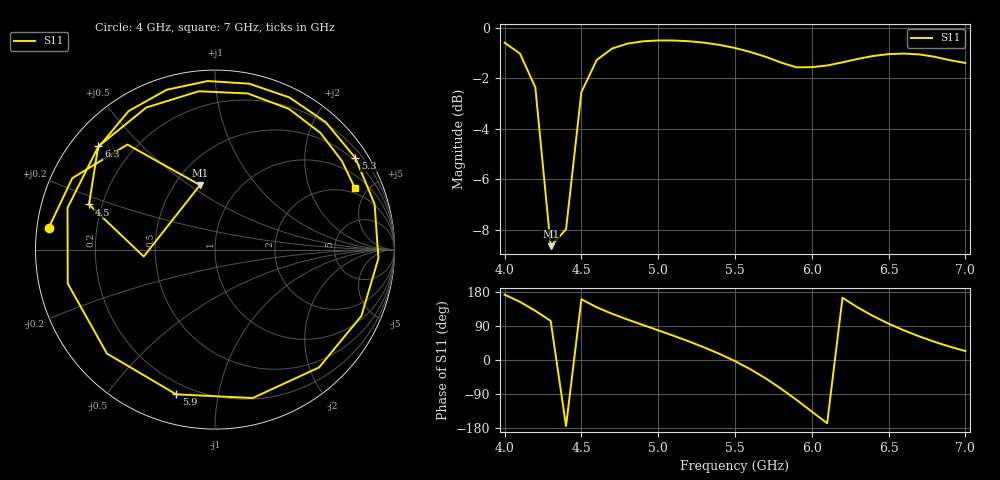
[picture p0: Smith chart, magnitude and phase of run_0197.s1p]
! Touchstone file exported from HFSS 2024.2.0
!  File:  C:/Users/wsak9/Desktop/Sim Fast/Widenad Patch/WP_AI_V1_sweep.aedt
!  Generated:  11:10:25 PM Oct 13, 2026
!  Design:  A1_model
!  Project:  WP_AI_V1_sweep
!  Setup:  Setup1
!  Solution:  Sweep
! Variables:
!  Air_gap = 1.6mm
!  Curve_Amp1 = 2.12
!  Curve_len1 = 1
!  Curve_pos = 12.57mm
!  Extra = 0.71mm
!  H_sub = 0.79mm
!  L_Patch = 21.14mm
!  L_Patch1 = 13.74mm
!  Sx = 1.95mm
!  Sy = 3.69mm
!  WS = 0.73mm
!  W_Patch = 21.87mm
!  W_Patch1 = 13.03mm
!Data is not renormalized
# GHz S MA
! Terminal data exported
! Port[1] = 1
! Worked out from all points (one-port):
!   31 points, 4 GHz to 7 GHz, reference per port
!   lowest |S11| = -8.7 dB at 4.3 GHz (marker M1), VSWR 2.17
!   |S11| at or under -10 dB: nowhere
!   S11 on the Smith chart (normalised r, x): 4 GHz: 0.03, +0.07; 4.5 GHz: 0.15, +0.17; 5.3 GHz: 0.41, +3.31; 5.9 GHz: 0.14, -0.76; 6.3 GHz: 0.08, +0.38; 7 GHz: 1.67, +4.15
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4  0.934 172.5
4.1  0.889 153.4
4.2  0.762 129.8
4.3  0.3691 103.1
4.4  0.3988 -174.4
4.5  0.7456 160.3
4.6  0.8637 139.0
4.7  0.9096 122.0
4.8  0.9303 106.8
5  0.9438 78.3
5.2  0.9404 49.0
5.3  0.9342 33.2
5.4  0.9247 16.0
5.5  0.9119 -3.0
5.6  0.8955 -24.4
5.7  0.8759 -48.5
5.8  0.8533 -75.8
5.9  0.8349 -105.0
6  0.8355 -136.1
6.1  0.842 -167.0
6.2  0.854 164.2
6.3  0.8676 138.5
6.4  0.8793 115.8
6.5  0.8867 95.8
6.6  0.889 78.1
6.7  0.8855 62.2
6.8  0.8762 47.9
7  0.8516 23.6
